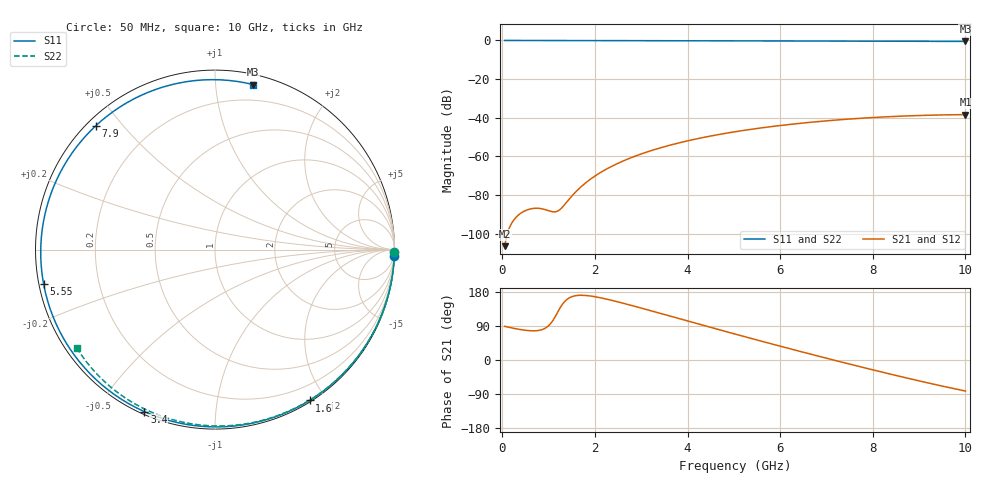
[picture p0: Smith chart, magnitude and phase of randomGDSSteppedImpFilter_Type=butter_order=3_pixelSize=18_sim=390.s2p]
! freq	dB(S11)	phase(S11)	dB(S12)	phase(S12)
!  dB(S21)	phase(S21)	dB(S22)	phase(S22)
!S-par simulation data
#  GHz  S  DB  R 50
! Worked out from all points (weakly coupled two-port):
!   200 points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, 50 MHz to 10 GHz, reference 50 ohm
!   highest |S21| = -38.40 dB at 10 GHz (marker M1); lowest = -106.5 dB at 50 MHz (marker M2)
!   lowest |S11| = -0.5 dB at 10 GHz (marker M3), VSWR 34.51, Z = 3.73 + j62.7 ohm
!   |S11| at or under -10 dB: nowhere
!   |S22| runs from -0.5 to 0.0 dB; largest |S21 - S12| = 0
!   S11 on the Smith chart (normalised r, x): 50 MHz: 0, -60; 1.6 GHz: 0.02, -1.81; 3.4 GHz: 0.01, -0.65; 5.55 GHz: 0.01, -0.10; 7.9 GHz: 0.03, +0.43; 10 GHz: 0.07, +1.25
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0.05  -0.00 -1.9  -106.54 88.7  -106.54 88.7  -0.00 -0.8
0.4  -0.02 -15.0  -89.45 80.2  -89.45 80.2  -0.01 -6.7
0.75  -0.04 -27.9  -86.89 77.4  -86.89 77.4  -0.02 -12.5
1.15  -0.05 -42.3  -88.75 115.9  -88.75 115.9  -0.02 -19.1
1.5  -0.07 -54.5  -80.63 167.1  -80.63 167.1  -0.03 -24.8
1.6  -0.07 -57.9  -78.07 170.1  -78.07 170.1  -0.03 -26.5
1.75  -0.08 -63.0  -74.74 170.7  -74.74 170.7  -0.04 -28.9
2.05  -0.09 -72.9  -69.44 165.9  -69.44 165.9  -0.04 -33.7
2.45  -0.10 -85.6  -64.16 154.8  -64.16 154.8  -0.05 -40.1
2.9  -0.12 -99.2  -59.64 140.4  -59.64 140.4  -0.06 -47.2
3.4  -0.13 -113.6  -55.71 123.5  -55.71 123.5  -0.07 -54.9
4.25  -0.17 -136.4  -50.68 94.6  -50.68 94.6  -0.10 -67.6
5.05  -0.20 -156.6  -47.18 67.6  -47.18 67.6  -0.12 -79.2
5.55  -0.23 -168.8  -45.42 51.1  -45.42 51.1  -0.14 -86.3
6.1  -0.26 177.9  -43.77 33.2  -43.77 33.2  -0.17 -93.9
6.7  -0.30 163.5  -42.28 14.1  -42.28 14.1  -0.20 -101.9
7.3  -0.34 148.8  -41.04 -4.7  -41.04 -4.7  -0.24 -109.9
7.9  -0.38 133.9  -40.06 -23.0  -40.06 -23.0  -0.28 -117.7
8.35  -0.40 122.3  -39.48 -36.4  -39.48 -36.4  -0.32 -123.4
9.2  -0.46 99.6  -38.73 -60.7  -38.73 -60.7  -0.40 -134.3
9.6  -0.48 88.4  -38.52 -71.5  -38.52 -71.5  -0.44 -139.3
10  -0.50 77.0  -38.40 -81.9  -38.40 -81.9  -0.49 -144.4
